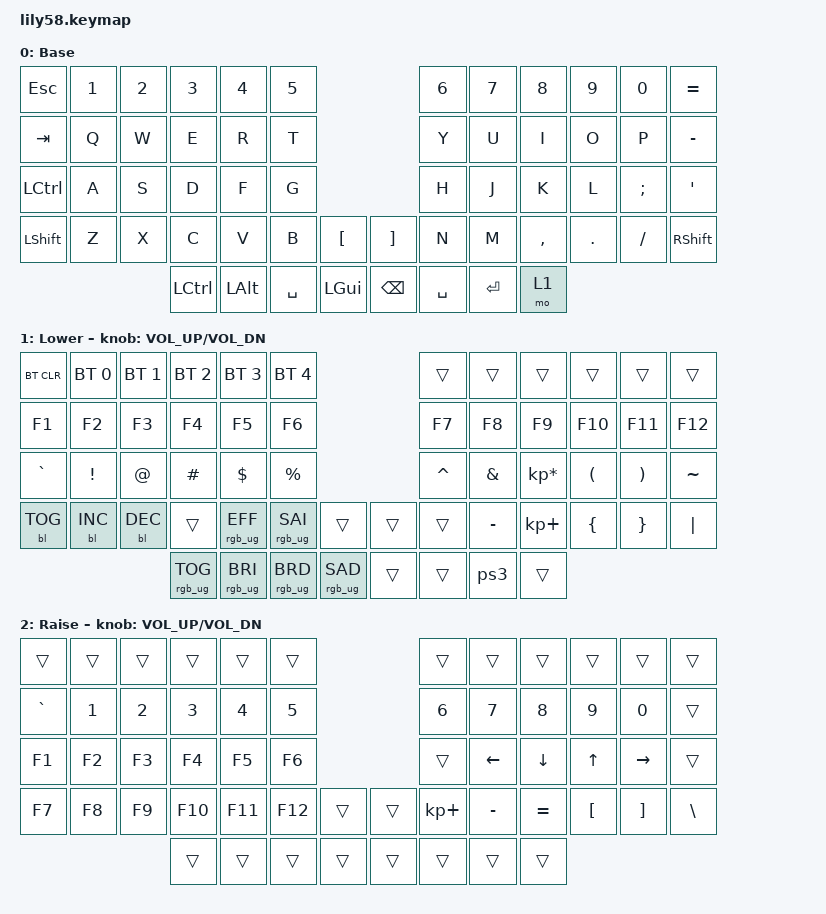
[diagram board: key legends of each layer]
/*
 * Copyright (c) 2020 The ZMK Contributors
 *
 * SPDX-License-Identifier: MIT
 */

#include <behaviors.dtsi>
#include <dt-bindings/zmk/backlight.h>
#include <dt-bindings/zmk/bt.h>
#include <dt-bindings/zmk/keys.h>
#include <dt-bindings/zmk/rgb.h>

/ {
    macros {
        ps3: ps3 {
            compatible = "zmk,behavior-macro";
            #binding-cells = <0>;
            bindings = <&kp LS(H) &kp A &kp DLLR &kp H &kp I &kp M &kp O &kp T &kp O &kp N7 &kp N5 &kp N7 &kp N5>;
            label = "PS3";
        };
    };

    keymap {
        compatible = "zmk,keymap";

        default_layer {
            // ------------------------------------------------------------------------------------------------------------
            // |  ESC  |  1  |  2  |  3   |  4   |  5   |                   |  6   |  7    |  8    |  9   |   0   |   `   |
            // |  TAB  |  Q  |  W  |  E   |  R   |  T   |                   |  Y   |  U    |  I    |  O   |   P   |   -   |
            // |  CTRL |  A  |  S  |  D   |  F   |  G   |                   |  H   |  J    |  K    |  L   |   ;   |   '   |
            // | SHIFT |  Z  |  X  |  C   |  V   |  B   |   "["  |  |  "]"  |  N   |  M    |  ,    |  .   |   /   | SHIFT |
            //                     | ALT  | GUI  | LOWER|  SPACE |  | ENTER | RAISE| BSPC  | GUI   |

            display-name = "Base";
            bindings = <
&kp ESC    &kp N1  &kp N2  &kp N3            &kp N4        &kp N5                                    &kp N6     &kp N7      &kp N8     &kp N9   &kp N0    &kp EQUAL
&kp TAB    &kp Q   &kp W   &kp E             &kp R         &kp T                                     &kp Y      &kp U       &kp I      &kp O    &kp P     &kp MINUS
&kp LCTRL  &kp A   &kp S   &kp D             &kp F         &kp G                                     &kp H      &kp J       &kp K      &kp L    &kp SEMI  &kp SQT
&kp LSHFT  &kp Z   &kp X   &kp C             &kp V         &kp B      &kp LBKT        &kp RBKT       &kp N      &kp M       &kp COMMA  &kp DOT  &kp FSLH  &kp RSHFT
                           &kp LEFT_CONTROL  &kp LEFT_ALT  &kp SPACE  &kp LEFT_GUI    &kp BACKSPACE  &kp SPACE  &kp RETURN  &mo 1
            >;
        };

        lower_layer {
            // ------------------------------------------------------------------------------------------------------------
            // | BTCLR | BT1 | BT2 |  BT3 |  BT4 |  BT5 |                   |      |       |       |      |       |       |
            // |  F1   |  F2 |  F3 |  F4  |  F5  |  F6  |                   |  F7  |  F8   |  F9   |  F10 |  F11  |  F12  |
            // |   `   |  !  |  @  |  #   |  $   |  %   |                   |  ^   |  &    |  *    |  (   |   )   |   ~   |
            // |       |     |     |      |      |      |        |  |       |      |  _    |  +    |  {   |   }   |  "|"  |
            //                     |      |      |      |        |  |       |      |       |       |

            display-name = "Lower";
            bindings = <
&bt BT_CLR  &bt BT_SEL 0  &bt BT_SEL 1  &bt BT_SEL 2     &bt BT_SEL 3     &bt BT_SEL 4                                &trans     &trans     &trans           &trans    &trans    &trans
&kp F1      &kp F2        &kp F3        &kp F4           &kp F5           &kp F6                                      &kp F7     &kp F8     &kp F9           &kp F10   &kp F11   &kp F12
&kp GRAVE   &kp EXCL      &kp AT        &kp HASH         &kp DOLLAR       &kp PRCNT                                   &kp CARET  &kp AMPS   &kp KP_MULTIPLY  &kp LPAR  &kp RPAR  &kp TILDE
&bl BL_TOG  &bl BL_INC    &bl BL_DEC    &trans           &rgb_ug RGB_EFF  &rgb_ug RGB_SAI  &trans             &trans  &trans     &kp MINUS  &kp KP_PLUS      &kp LBRC  &kp RBRC  &kp PIPE
                                        &rgb_ug RGB_TOG  &rgb_ug RGB_BRI  &rgb_ug RGB_BRD  &rgb_ug RGB_SAD    &trans  &trans     &ps3       &trans
            >;

            sensor-bindings = <&inc_dec_kp C_VOL_UP C_VOL_DN>;
        };

        raise_layer {
            // ------------------------------------------------------------------------------------------------------------
            // |       |     |     |      |      |      |                   |      |       |       |      |       |       |
            // |   `   |  1  |  2  |  3   |  4   |  5   |                   |  6   |   7   |   8   |  9   |   0   |       |
            // |   F1  |  F2 |  F3 |  F4  |  F5  |  F6  |                   |      |   <-  |   v   |  ^   |  ->   |       |
            // |   F7  |  F8 |  F9 |  F10 |  F11 |  F12 |        |  |       |  +   |   -   |   =   |  [   |   ]   |   \   |
            //                     |      |      |      |        |  |       |      |       |       |

            display-name = "Raise";
            bindings = <
&trans     &trans  &trans  &trans   &trans   &trans                     &trans       &trans     &trans     &trans    &trans     &trans
&kp GRAVE  &kp N1  &kp N2  &kp N3   &kp N4   &kp N5                     &kp N6       &kp N7     &kp N8     &kp N9    &kp N0     &trans
&kp F1     &kp F2  &kp F3  &kp F4   &kp F5   &kp F6                     &trans       &kp LEFT   &kp DOWN   &kp UP    &kp RIGHT  &trans
&kp F7     &kp F8  &kp F9  &kp F10  &kp F11  &kp F12  &trans    &trans  &kp KP_PLUS  &kp MINUS  &kp EQUAL  &kp LBKT  &kp RBKT   &kp BSLH
                           &trans   &trans   &trans   &trans    &trans  &trans       &trans     &trans
            >;

            sensor-bindings = <&inc_dec_kp C_VOL_UP C_VOL_DN>;
        };

        extra_1 { status = "reserved"; };

        extra_2 { status = "reserved"; };

        extra_3 { status = "reserved"; };
    };
};
